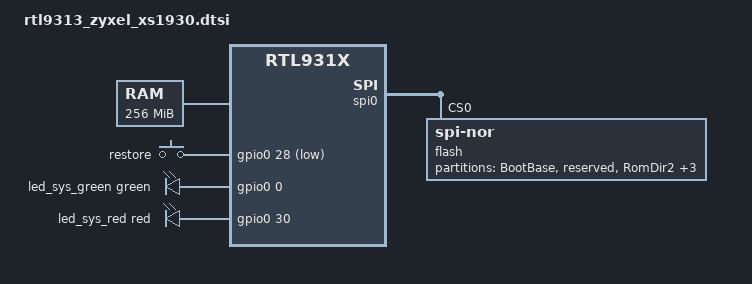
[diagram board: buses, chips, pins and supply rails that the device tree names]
// SPDX-License-Identifier: GPL-2.0-or-later
/dts-v1/;

#include "rtl931x.dtsi"

#include <dt-bindings/input/input.h>
#include <dt-bindings/gpio/gpio.h>
#include <dt-bindings/leds/common.h>
#include <dt-bindings/mux/mux.h>

/ {
	aliases {
		label-mac-device = &ethernet0;
		led-boot = &led_sys_green;
		led-failsafe = &led_sys_red;
		led-running = &led_sys_green;
		led-upgrade = &led_sys_green;
	};

	chosen {
		bootargs = "console=ttyS0,115200 earlycon";
	};

	memory@0 {
		device_type = "memory";
		reg = <0x00000000 0x10000000>;
	};

	keys {
		compatible = "gpio-keys";

		key-restore {
			label = "restore";
			gpios = <&gpio0 28 GPIO_ACTIVE_LOW>;
			linux,code = <KEY_RESTART>;
		};
	};

	leds: leds {
		compatible = "gpio-leds";
		pinctrl-names = "default";
		pinctrl-0 = <&pinmux_disable_sys_led>;

		led_sys_green: led-0 {
			color = <LED_COLOR_ID_GREEN>;
			function = LED_FUNCTION_INDICATOR;
			gpios = <&gpio0 0 GPIO_ACTIVE_HIGH>;
		};

		led_sys_red: led-1 {
			color = <LED_COLOR_ID_RED>;
			function = LED_FUNCTION_INDICATOR;
			gpios = <&gpio0 30 GPIO_ACTIVE_HIGH>;
		};
	};
};

&spi0 {
	status = "okay";

	flash@0 {
		compatible = "jedec,spi-nor";
		reg = <0>;

		partitions {
			compatible = "fixed-partitions";
			#address-cells = <1>;
			#size-cells = <1>;

			partition@0 {
				label = "BootBase";
				reg = <0x0 0xa0000>;
				read-only;

				nvmem-layout {
					compatible = "fixed-layout";
					#address-cells = <1>;
					#size-cells = <1>;

					factory_macaddr: macaddr@9fff8 {
						reg = <0x9fff8 0x6>;
					};
				};
			};

			/* DbgArea */
			partition@a0000 {
				label = "reserved";
				reg = <0xa0000 0x20000>;
				read-only;
			};

			partition@c0000 {
				label = "RomDir2";
				reg = <0xc0000 0x120000>;
				read-only;

				/* boot image index at offset 0x151 */
				nvmem-layout {
					compatible = "fixed-layout";
					#address-cells = <1>;
					#size-cells = <1>;

					boot_selector: boot-selector@151 {
						reg = <0x151 0x1>;
					};
				};
			};

			/* BootBase has dual-image support. Second partition starts at
			 * 0x1280000 and has same layout as first partition but smaller size
			 */
			partition@280000 {
				reg = <0x280000 0x1d80000>;
				label = "factory";

				compatible = "fixed-partitions";
				#address-cells = <1>;
				#size-cells = <1>;

				partition@0 {
					label = "loader";
					reg = <0x0 0x10000>;
				};

				partition@10000 {
					label = "firmware";
					reg = <0x10000 0x1d70000>;
					compatible = "openwrt,uimage", "denx,uimage";
				};
			};
		};
	};
};

&ethernet0 {
	nvmem-cells = <&factory_macaddr 0>;
	nvmem-cell-names = "mac-address";
};
